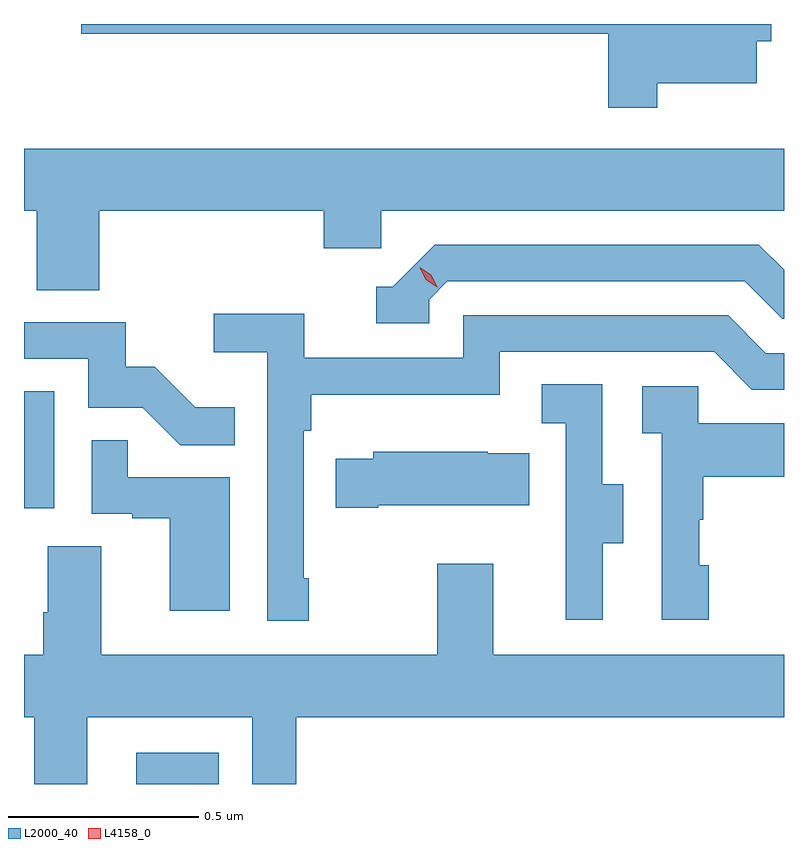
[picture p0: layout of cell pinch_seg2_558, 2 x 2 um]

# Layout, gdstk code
import gdstk
lib = gdstk.Library(unit=1e-6, precision=1e-09)
def R(c, l, rs):  # rectangles x0, y0, x1, y1
    for r in rs: c.add(gdstk.rectangle(r[:2], r[2:], *l))
def P(c, l, *ps):  # polygons
    for p in ps: c.add(gdstk.Polygon(p, *l))
L2000_40 = (2000, 40)
L4158_0 = (4158, 0)

pinch_seg2_558 = lib.new_cell('pinch_seg2_558')
R(pinch_seg2_558, L2000_40, [(1097.877,616.824,1098.094,616.906), (1097.582,617.55,1097.662,617.857)])
P(pinch_seg2_558, L2000_40, [(1099.249,618.668),(1099.51,618.668),(1099.51,618.779),(1099.549,618.779),(1099.549,618.824),(1097.732,618.824),(1097.732,618.798),(1099.12,618.798),(1099.12,618.603),(1099.249,618.603)],
  [(1097.78,618.332),(1098.371,618.332),(1098.371,618.234),(1098.522,618.234),(1098.522,618.332),(1099.582,618.332),(1099.582,618.496),(1097.582,618.496),(1097.582,618.332),(1097.615,618.332),(1097.615,618.124),(1097.78,618.124)],
  [(1098.648,618.099),(1098.696,618.147),(1099.479,618.147),(1099.578,618.048),(1099.582,618.048),(1099.582,618.177),(1099.516,618.243),(1098.663,618.243),(1098.552,618.132),(1098.509,618.132),(1098.509,618.036),(1098.648,618.036)],
  [(1098.331,617.365),(1098.318,617.365),(1098.318,617.753),(1098.338,617.753),(1098.338,617.849),(1098.834,617.849),(1098.834,617.961),(1099.398,617.961),(1099.497,617.862),(1099.582,617.862),(1099.582,617.958),(1099.534,617.958),(1099.435,618.057),(1098.738,618.057),(1098.738,617.946),(1098.32,617.946),(1098.32,618.062),(1098.081,618.062),(1098.081,617.96),(1098.222,617.96),(1098.222,617.253),(1098.331,617.253)],
  [(1098.137,617.815),(1098.033,617.815),(1097.926,617.922),(1097.85,617.922),(1097.85,618.039),(1097.582,618.039),(1097.582,617.943),(1097.751,617.943),(1097.751,617.814),(1097.895,617.814),(1097.993,617.716),(1098.137,617.716)],
  [(1099.105,617.458),(1099.159,617.458),(1099.159,617.613),(1099.104,617.613),(1099.104,617.876),(1098.945,617.876),(1098.945,617.773),(1099.008,617.773),(1099.008,617.469),(1099.007,617.469),(1099.007,617.256),(1099.105,617.256)],
  [(1099.384,617.4),(1099.359,617.4),(1099.359,617.519),(1099.369,617.519),(1099.369,617.633),(1099.582,617.633),(1099.582,617.773),(1099.356,617.773),(1099.356,617.871),(1099.209,617.871),(1099.209,617.747),(1099.26,617.747),(1099.26,617.256),(1099.384,617.256)],
  [(1098.124,617.631),(1097.855,617.631),(1097.855,617.729),(1097.76,617.729),(1097.76,617.535),(1097.867,617.535),(1097.867,617.523),(1097.966,617.523),(1097.966,617.28),(1098.124,617.28)],
  [(1098.514,617.558),(1098.911,617.558),(1098.911,617.695),(1098.803,617.695),(1098.803,617.698),(1098.501,617.698),(1098.501,617.68),(1098.403,617.68),(1098.403,617.551),(1098.514,617.551)],
  [(1097.749,617),(1098.183,617),(1098.183,616.824),(1098.299,616.824),(1098.299,617),(1099.582,617),(1099.582,617.164),(1098.817,617.164),(1098.817,617.404),(1098.67,617.404),(1098.67,617.164),(1097.785,617.164),(1097.785,617.45),(1097.645,617.45),(1097.645,617.276),(1097.633,617.276),(1097.633,617.164),(1097.582,617.164),(1097.582,617),(1097.609,617),(1097.609,616.824),(1097.749,616.824)])
P(pinch_seg2_558, L4158_0, [(1098.67,618.131),(1098.639,618.151),(1098.624,618.184),(1098.624,618.184),(1098.624,618.184),(1098.654,618.164),(1098.67,618.131),(1098.67,618.131)])

lib.write_gds('pinch_seg2_558.gds')
